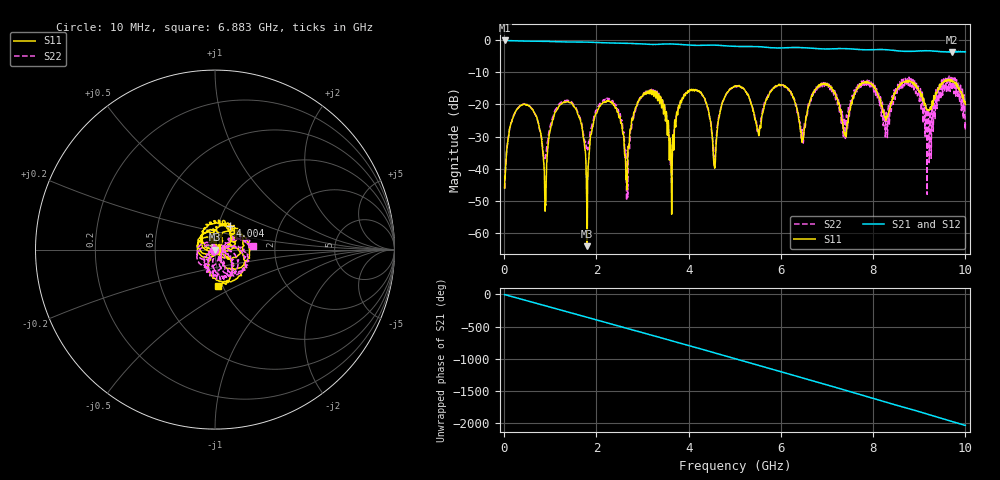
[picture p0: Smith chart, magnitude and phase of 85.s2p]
!Keysight Technologies,E5080B,MY59205177,A.15.75.32
!Date: Friday, February 23, 2024 03:34:04
!Correction: S11(Cdelta 2-Port  )
!S21(Cdelta 2-Port  )
!S12(Cdelta 2-Port  )
!S22(Cdelta 2-Port  )
!S2P File: Measurements: S11, S21, S12, S22:
# Hz S  dB  R 50
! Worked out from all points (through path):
!   10001 points, 10 MHz to 10 GHz, reference 50 ohm
!   highest |S21| = -0.01 dB at 14 MHz (marker M1); lowest = -3.7 dB at 9.701 GHz (marker M2)
!   group delay of S21, straight-line fit = 565 ps
!   lowest |S11| = -64.2 dB at 1.8 GHz (marker M3), VSWR 1.00, Z = 50 - j0.0574 ohm
!   |S11| at or under -10 dB: start of sweep to end of sweep
!   |S22| runs from -50.0 to -11.2 dB; largest |S21 - S12| = 0.0015
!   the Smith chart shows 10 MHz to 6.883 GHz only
!   S11 on the Smith chart (normalised r, x): 10 MHz: 1.01, -0.00; 4.004 GHz: 1.14, +0.31; 6.883 GHz: 0.95, -0.40
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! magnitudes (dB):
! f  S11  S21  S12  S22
! 10 MHz  -46.1  0.0  0.0  -45.9
! 14 MHz  -43.3  0.0  0.0  -45.5
! 374.6 MHz  -20.2  -0.2  -0.2  -20.1
! 888.1 MHz  -52.8  -0.3  -0.3  -36.7
! 1.178 GHz  -20.8  -0.4  -0.4  -20.2
! 1.675 GHz  -26.1  -0.5  -0.5  -25.5
! 1.8 GHz  -64.2  -0.5  -0.5  -33.1
! 2.109 GHz  -19.9  -0.7  -0.7  -19.0
! 2.662 GHz  -46.3  -0.9  -0.9  -43.8
! 2.907 GHz  -19.3  -1.0  -1.0  -18.8
! 3.341 GHz  -17.4  -1.2  -1.2  -17.7
! 3.627 GHz  -47.2  -1.1  -1.1  -42.1
! 4.004 GHz  -16.1  -1.4  -1.4  -15.8
! 4.561 GHz  -39.4  -1.5  -1.5  -38.5
! 5.005 GHz  -14.2  -1.9  -1.8  -14.5
! 5.517 GHz  -29.4  -2.0  -2.0  -28.4
! 6.67 GHz  -17.3  -2.4  -2.4  -16.9
! 6.883 GHz  -13.9  -2.6  -2.6  -13.4
! 7.385 GHz  -29.6  -2.6  -2.6  -26.1
! 8.336 GHz  -22.7  -3.0  -3.0  -20.9
! 9.701 GHz  -12.2  -3.7  -3.7  -13.8
! 10 GHz  -20.0  -3.6  -3.6  -25.5
